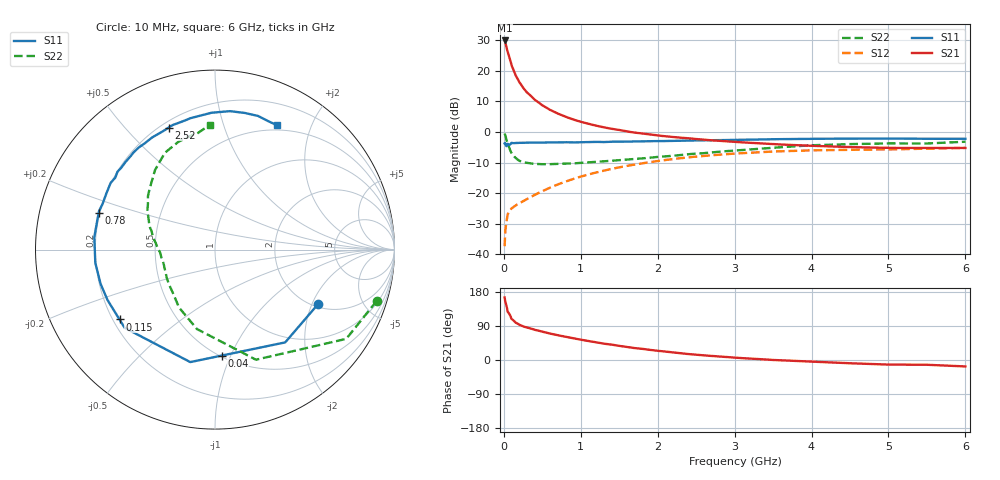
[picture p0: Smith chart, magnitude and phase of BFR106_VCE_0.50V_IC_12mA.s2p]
! Infineon Technologies  Discrete & RF Semiconductors
! BFR106
! VCE = 0.50 V,  IC =  12 mA
! Common Emitter S-Parameters:  Nov 2015
# GHz  S  MA  R  50
!  f  S11  S21  S12  S22
! GHz  MAG  ANG  MAG  ANG  MAG  ANG  MAG  ANG
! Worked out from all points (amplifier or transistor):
!   210 points, 10 MHz to 6 GHz, reference 50 ohm
!   highest |S21| = 30.0 dB at 10 MHz (marker M1)
!   |S21| within 3 dB of that: start of sweep to 41.68 MHz
!   unconditionally stable (mu >= 1): 393.2 MHz to end of sweep
!   at 185 MHz: K = 0.66, MSG = 20.4 dB, |S12| = -23.6 dB
!   at 1.52 GHz: K = 1.12, MAG = 3.9 dB, |S12| = -11.5 dB
!   at 6 GHz: K = 1.03, MAG = -1.1 dB, |S12| = -5.2 dB
!   S11 on the Smith chart (normalised r, x): 10 MHz: 2.10, -2.21; 40 MHz: 0.51, -0.93; 115 MHz: 0.23, -0.31; 780 MHz: 0.19, +0.15; 2.52 GHz: 0.23, +0.66; 6 GHz: 0.44, +1.53
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0.01  0.649 -28.1  31.61 165.1  0.0135 78.8  0.9447 -17.7
0.02  0.6482 -52.9  29.22 153.1  0.0248 67.7  0.8844 -34.2
0.04  0.5914 -86.3  22.81 138.1  0.0378 52.1  0.6979 -55.4
0.05  0.6417 -102.4  20.46 127.4  0.0449 47.9  0.6545 -69.6
0.1  0.6659 -139.1  12.39 108.4  0.0561 38.8  0.4539 -102.8
0.115  0.6593 -143.8  11.23 106.2  0.058 38.5  0.427 -107.8
0.15  0.6614 -154.9  8.615 98.9  0.0625 37.9  0.3797 -121.9
0.2  0.6655 -163.4  6.598 93.1  0.0678 39.7  0.3386 -133.4
0.26  0.6668 -170.3  5.135 88.1  0.0747 42.8  0.319 -144.2
0.3  0.6709 -173.7  4.461 85.5  0.0794 44.8  0.3127 -148.8
0.4  0.6705 179.3  3.393 79.8  0.0931 48.7  0.3015 -157.7
0.5  0.6761 174.1  2.74 74.7  0.1074 51.4  0.297 -163.6
0.6  0.6747 169.2  2.31 69.7  0.1228 53.0  0.2976 -167.7
0.78  0.6799 162.4  1.825 62.2  0.1506 54.1  0.3037 -173.6
1.02  0.6806 153.5  1.448 52.9  0.1892 53.6  0.3131 -179.4
1.38  0.6931 141.9  1.142 41.1  0.2458 50.1  0.3366 172.6
2.02  0.7096 123.7  0.873 23.9  0.3375 41.0  0.3926 158.9
2.52  0.7271 110.8  0.764 13.6  0.3978 32.8  0.444 147.6
3.1  0.7468 98.7  0.677 4.9  0.4503 23.3  0.5071 135.0
4.1  0.7757 82.7  0.589 -5.1  0.5029 8.4  0.6116 115.6
5.1  0.7803 71.2  0.549 -12.2  0.5214 -2.9  0.6509 100.7
6  0.7744 63.4  0.548 -17.0  0.5498 -11.2  0.6941 92.5
